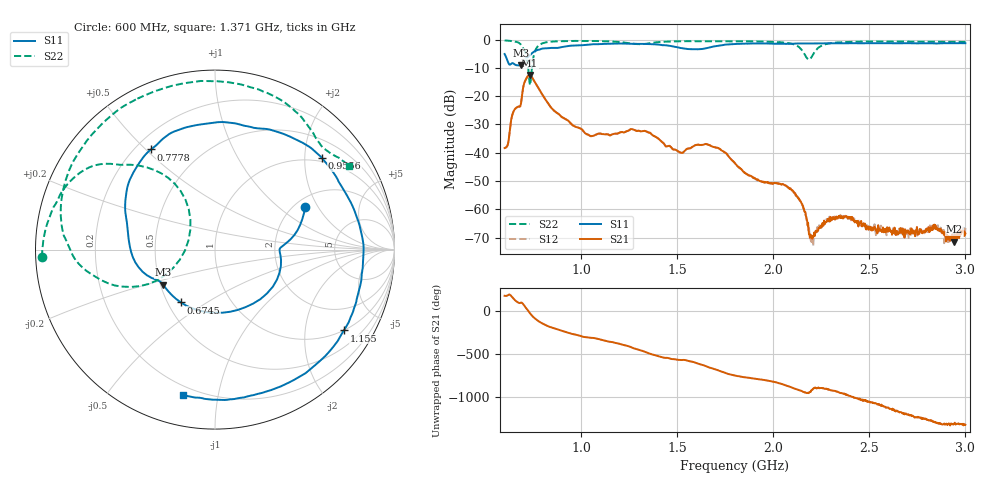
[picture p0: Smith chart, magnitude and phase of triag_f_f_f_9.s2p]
#  HZ  S  RI  R  50.00
! Rohde & Schwarz ZVB8 2Ports - Version 2.81 - 1145.1010k08 SN: 100113
! Date: 2016-05-03 01:38:28
! Measurements: S11 S21 S12 S22
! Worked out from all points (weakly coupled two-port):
!   1000 points, 600 MHz to 3 GHz, reference 50 ohm
!   highest |S21| = -12.49 dB at 729.7 MHz (marker M1); lowest = -71.4 dB at 2.942 GHz (marker M2)
!   lowest |S11| = -9.2 dB at 686.5 MHz (marker M3), VSWR 2.07, Z = 25.8 - j11.4 ohm
!   |S11| at or under -10 dB: nowhere
!   |S22| runs from -16.1 to -0.3 dB; largest |S21 - S12| = 0.0057
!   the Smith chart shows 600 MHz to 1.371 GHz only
!   S11 on the Smith chart (normalised r, x): 600 MHz: 2.28, +1.56; 674.5 MHz: 0.58, -0.39; 777.8 MHz: 0.26, +0.52; 955.6 MHz: 0.91, +2.42; 1.155 GHz: 1.00, -3.19; 1.371 GHz: 0.15, -0.79
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6e8  0.5028 0.2358  -0.0119 0.00208  -0.012 0.00208  -0.9639 -0.0433
6.744745e8  -0.19 -0.2944  0.00191 0.0656  0.00184 0.0655  -0.7702 0.4145
6.864865e8  -0.2892 -0.1946  -0.00279 0.079  -0.00334 0.079  -0.6396 0.4758
7.297297e8  -0.4935 0.169  0.2172 -0.0962  0.2187 -0.0917  -0.1377 0.108
7.513514e8  -0.4827 0.3674  0.0401 -0.188  0.0419 -0.1876  -0.4692 -0.2081
7.777778e8  -0.3564 0.5582  -0.0762 -0.113  -0.0754 -0.1141  -0.7912 -0.0352
9.555556e8  0.5975 0.5087  0.000351 0.0304  0.000178 0.0303  -0.5248 0.789
1.001201e9  0.7276 0.3147  0.0118 0.0234  0.0115 0.0234  -0.3653 0.8706
1.154955e9  0.7173 -0.4502  0.0208 -0.000309  0.0206 -0.000274  0.2359 0.8944
1.371171e9  -0.1759 -0.8103  -0.0171 -0.0112  -0.017 -0.0112  0.7483 0.4634
1.4e9  -0.2958 -0.7604  -0.0173 -0.00451  -0.0173 -0.00458  0.8205 0.377
1.575375e9  -0.5963 -0.3139  -0.00844 0.00929  -0.00843 0.00926  0.8878 -0.297
1.801201e9  -0.7844 0.2855  0.00561 -0.00319  0.00557 -0.00316  0.3301 -0.8685
2.101502e9  0.1203 0.8364  -0.0021 -0.000335  -0.00205 -0.00029  -0.6022 -0.5762
2.163964e9  0.3584 0.7741  -0.000688 0.000578  -0.000614 0.000613  -0.4664 -0.2715
2.2e9  0.489 0.6996  -0.000303 8.89e-05  -0.000287 0.000114  -0.2637 -0.4237
2.26006e9  0.67 0.5341  -0.000506 -7.36e-05  -0.00054 -2.5e-05  -0.5142 -0.6176
2.401802e9  0.862 -0.0315  -6.67e-05 0.000677  -9.42e-05 0.000723  -0.8569 -0.3088
2.601201e9  0.4609 -0.7283  0.000288 -0.00031  0.000306 -0.000297  -0.9063 0.1781
2.769369e9  -0.1669 -0.8421  -0.000424 -0.000126  -0.000398 -0.000168  -0.7432 0.5405
2.942342e9  -0.6749 -0.5333  -0.000202 0.000177  -0.000146 0.000304  -0.442 0.7994
3e9  -0.7808 -0.3669  -0.000213 0.000308  -0.000256 0.000395  -0.3164 0.8514
